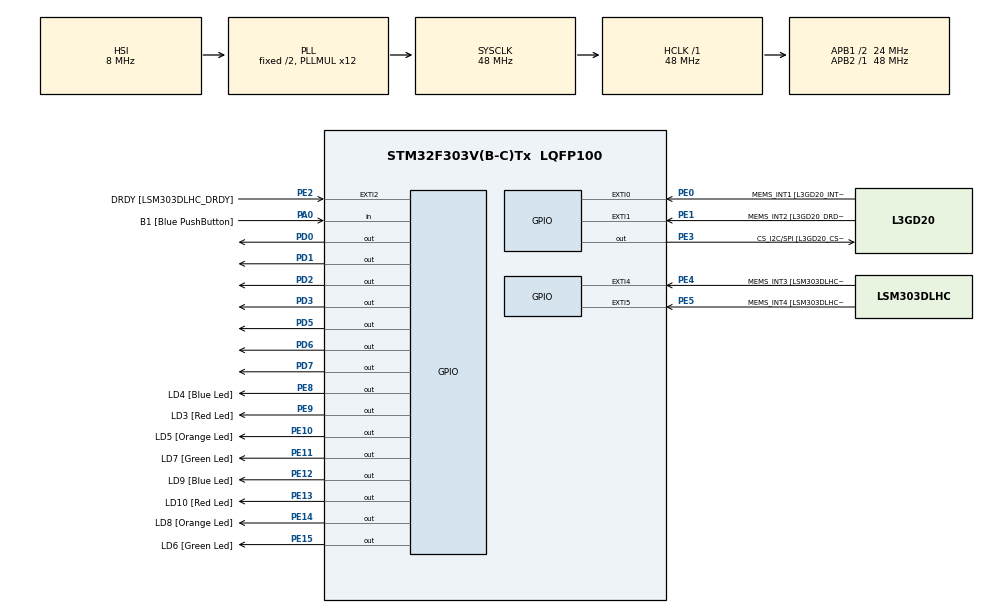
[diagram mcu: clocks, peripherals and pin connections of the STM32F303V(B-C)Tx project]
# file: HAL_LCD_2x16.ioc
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Mcu.Family=STM32F3
Mcu.Name=STM32F303V(B-C)Tx
Mcu.Package=LQFP100
NVIC.PriorityGroup=NVIC_PRIORITYGROUP_0
PA0.GPIO_Label=B1 [Blue PushButton]
PA0.GPIO_Mode=GPIO_MODE_INPUT
PA0.GPIO_PuPd=GPIO_NOPULL
PA0.Signal=GPIO_Input
PA11.GPIO_Label=DM
PA11.Signal=USB_DM
PA12.GPIO_Label=DP
PA12.Signal=USB_DP
PA13.GPIO_Label=SWDIO
PA13.Signal=SYS_JTMS-SWDIO
PA14.GPIO_Label=SWCLK
PA14.Signal=SYS_JTCK-SWCLK
PA5.GPIO_Label=SPI1_SCK [L3GD20_SCL/SPC]
PA5.GPIO_Mode=GPIO_MODE_AF_PP
PA5.GPIO_PuPd=GPIO_NOPULL
PA5.GPIO_Speed=GPIO_SPEED_FREQ_LOW
PA5.Signal=SPI1_SCK
PA6.GPIO_Label=SPI1_MISO [L3GD20_SA0/SDO]
PA6.GPIO_Mode=GPIO_MODE_AF_PP
PA6.GPIO_PuPd=GPIO_NOPULL
PA6.GPIO_Speed=GPIO_SPEED_FREQ_LOW
PA6.Signal=SPI1_MISO
PA7.GPIO_Label=SPI1_MISO [L3GD20_SDA/SDI/SDO]
PA7.GPIO_Mode=GPIO_MODE_AF_PP
PA7.GPIO_PuPd=GPIO_NOPULL
PA7.GPIO_Speed=GPIO_SPEED_FREQ_LOW
PA7.Signal=SPI1_MOSI
PB3.GPIO_Label=SWO
PB3.Signal=SYS_JTDO-TRACESWO
PB6.GPIO_FM6=__NULL
PB6.GPIO_Label=I2C1_SCL [LSM303DLHC_SCL]
PB6.GPIO_Mode=GPIO_MODE_AF_OD
PB6.GPIO_PuPd=GPIO_NOPULL
PB6.GPIO_Speed=GPIO_SPEED_FREQ_LOW
PB6.Signal=I2C1_SCL
PB7.GPIO_FM7=__NULL
PB7.GPIO_Label=I2C1_SDA [LSM303DLHC_SDA]
PB7.GPIO_Mode=GPIO_MODE_AF_OD
PB7.GPIO_PuPd=GPIO_NOPULL
PB7.GPIO_Speed=GPIO_SPEED_FREQ_LOW
PB7.Signal=I2C1_SDA
PC14-OSC32_IN.GPIO_Label=OSC32_IN
PC14-OSC32_IN.Signal=RCC_OSC32_IN
PC15-OSC32_OUT.GPIO_Label=OSC32_OUT
PC15-OSC32_OUT.Signal=RCC_OSC32_OUT
PD0.Signal=GPIO_Output
PD1.Signal=GPIO_Output
PD2.Signal=GPIO_Output
PD3.Signal=GPIO_Output
PD5.Signal=GPIO_Output
PD6.Signal=GPIO_Output
PD7.Signal=GPIO_Output
PE0.GPIO_Label=MEMS_INT1 [L3GD20_INT1]
PE0.GPIO_ModeDefaultEXTI=GPIO_MODE_EVT_RISING
PE0.GPIO_PuPd=GPIO_NOPULL
PE0.Signal=GPXTI0
PE1.GPIO_Label=MEMS_INT2 [L3GD20_DRDY/INT2]
PE1.GPIO_ModeDefaultEXTI=GPIO_MODE_EVT_RISING
PE1.GPIO_PuPd=GPIO_NOPULL
PE1.Signal=GPXTI1
PE10.GPIO_Label=LD5 [Orange Led]
PE10.GPIO_ModeDefaultOutputPP=GPIO_MODE_OUTPUT_PP
PE10.GPIO_PuPd=GPIO_NOPULL
PE10.GPIO_Speed=GPIO_SPEED_FREQ_LOW
PE10.Signal=GPIO_Output
PE11.GPIO_Label=LD7 [Green Led]
PE11.GPIO_ModeDefaultOutputPP=GPIO_MODE_OUTPUT_PP
PE11.GPIO_PuPd=GPIO_NOPULL
PE11.GPIO_Speed=GPIO_SPEED_FREQ_LOW
PE11.Signal=GPIO_Output
PE12.GPIO_Label=LD9 [Blue Led]
PE12.GPIO_ModeDefaultOutputPP=GPIO_MODE_OUTPUT_PP
PE12.GPIO_PuPd=GPIO_NOPULL
PE12.GPIO_Speed=GPIO_SPEED_FREQ_LOW
PE12.Signal=GPIO_Output
PE13.GPIO_Label=LD10 [Red Led]
PE13.GPIO_ModeDefaultOutputPP=GPIO_MODE_OUTPUT_PP
PE13.GPIO_PuPd=GPIO_NOPULL
PE13.GPIO_Speed=GPIO_SPEED_FREQ_LOW
PE13.Signal=GPIO_Output
PE14.GPIO_Label=LD8 [Orange Led]
PE14.GPIO_ModeDefaultOutputPP=GPIO_MODE_OUTPUT_PP
PE14.GPIO_PuPd=GPIO_NOPULL
PE14.GPIO_Speed=GPIO_SPEED_FREQ_LOW
PE14.Signal=GPIO_Output
PE15.GPIO_Label=LD6 [Green Led]
PE15.GPIO_ModeDefaultOutputPP=GPIO_MODE_OUTPUT_PP
PE15.GPIO_PuPd=GPIO_NOPULL
PE15.GPIO_Speed=GPIO_SPEED_FREQ_LOW
PE15.Signal=GPIO_Output
PE2.GPIO_Label=DRDY [LSM303DLHC_DRDY]
PE2.GPIO_ModeDefaultEXTI=GPIO_MODE_EVT_RISING
PE2.GPIO_PuPd=GPIO_NOPULL
PE2.Signal=GPXTI2
PE3.GPIO_Label=CS_I2C/SPI [L3GD20_CS_I2C/SPI]
PE3.GPIO_ModeDefaultOutputPP=GPIO_MODE_OUTPUT_PP
PE3.GPIO_PuPd=GPIO_NOPULL
PE3.GPIO_Speed=GPIO_SPEED_FREQ_LOW
PE3.Signal=GPIO_Output
PE4.GPIO_Label=MEMS_INT3 [LSM303DLHC_INT1]
PE4.GPIO_ModeDefaultEXTI=GPIO_MODE_EVT_RISING
PE4.GPIO_PuPd=GPIO_NOPULL
PE4.Signal=GPXTI4
PE5.GPIO_Label=MEMS_INT4 [LSM303DLHC_INT2]
PE5.GPIO_ModeDefaultEXTI=GPIO_MODE_EVT_RISING
PE5.GPIO_PuPd=GPIO_NOPULL
PE5.Signal=GPXTI5
PE8.GPIO_Label=LD4 [Blue Led]
PE8.GPIO_ModeDefaultOutputPP=GPIO_MODE_OUTPUT_PP
PE8.GPIO_PuPd=GPIO_NOPULL
PE8.GPIO_Speed=GPIO_SPEED_FREQ_LOW
PE8.Signal=GPIO_Output
PE9.GPIO_Label=LD3 [Red Led]
PE9.GPIO_ModeDefaultOutputPP=GPIO_MODE_OUTPUT_PP
PE9.GPIO_PuPd=GPIO_NOPULL
PE9.GPIO_Speed=GPIO_SPEED_FREQ_LOW
PE9.Signal=GPIO_Output
PF0-OSC_IN.GPIO_Label=OSC_IN
PF0-OSC_IN.Signal=RCC_OSC_IN
PF1-OSC_OUT.GPIO_Label=OSC_OUT
PF1-OSC_OUT.Signal=RCC_OSC_OUT
ProjectManager.HeapSize=0x200
ProjectManager.StackSize=0x400
ProjectManager.TargetToolchain=STM32CubeIDE
RCC.AHBFreq_Value=48000000
RCC.APB1CLKDivider=RCC_HCLK_DIV2
RCC.APB1Freq_Value=24000000
RCC.APB1TimFreq_Value=48000000
RCC.APB2Freq_Value=48000000
RCC.APB2TimFreq_Value=48000000
RCC.CortexFreq_Value=48000000
RCC.HCLKFreq_Value=48000000
RCC.HSE_VALUE=8000000
RCC.HSI_VALUE=8000000
RCC.LSE_VALUE=32768
RCC.PLLMUL=RCC_PLL_MUL12
RCC.SYSCLKFreq_VALUE=48000000
RCC.SYSCLKSourceVirtual=RCC_SYSCLKSOURCE_PLLCLK
RCC.USBFreq_Value=48000000
board=STM32F3DISCOVERY

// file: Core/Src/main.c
/* USER CODE BEGIN Header */
/**
  ******************************************************************************
  * @file           : main.c
  * @brief          : Main program body
  ******************************************************************************
  * @attention
  *
  * Copyright (c) 2023 STMicroelectronics.
  * All rights reserved.
  *
  * This software is licensed under terms that can be found in the LICENSE file
  * in the root directory of this software component.
  * If no LICENSE file comes with this software, it is provided AS-IS.
  *
  ******************************************************************************
  */
/* USER CODE END Header */
#include "main.h"

/* USER CODE BEGIN Includes */
#include "HD44780.h"

/* USER CODE END Includes */

void SystemClock_Config(void);
static void MX_GPIO_Init(void);

/* USER CODE BEGIN 0 */
volatile uint8_t test;
/* USER CODE END 0 */

int main(void)
{
  /* USER CODE BEGIN 1 */
	//TODO: READ BUSY FLAG
  /* USER CODE END 1 */

  /* MCU Configuration--------------------------------------------------------*/

  /* Reset of all peripherals, Initializes the Flash interface and the Systick. */
  HAL_Init();

  /* Configure the system clock */
  SystemClock_Config();

  /* Initialize all configured peripherals */
  MX_GPIO_Init();
  /* USER CODE BEGIN 2 */
  lcd_init();
  //lcd_send_text("Hello World");
  uint32_t command = (SET_DDRAM_ADDR)|(0x40);
  lcd_send_command(command);

//  uint32_t command = (SET_DDRAM_ADDR)|(0x40);
//  lcd_send_command(command);

  command = (LCD_ONOFF | LCD_DISPLAY_ON | LCD_COURSOR_OFF | LCD_BLINKINGCOURSOR_OFF);
  lcd_send_command(command);

  //change b sign in DRAM

  //lcd_send_command(0b00000000);  // 0'th CGRAM sign address
//	Reset_RS();
//	Set_RW();
//	test = lcd_receive_byte();

  //test=read_busy_flag();

  Reset_RS();
  Reset_RW();
  lcd_send_byte(0b10000000);		//SET DDRAM ADDRESS

  Set_RS();
  lcd_send_byte(0b00000000);		//SEND DDRAM DATA
  Reset_RS();

  uint32_t comm = 0;

  for(int i = 0; i <= 7; i++){
	  comm = (0b01000000)+i; // CGRAM ROW ADDRESS
	  lcd_send_byte(comm);		//SET CGRAM ADDRESS
	  HAL_Delay(10);
	  if(i==7){
		  Set_RS();
		  lcd_send_byte(0b00000000);//SEND CGRAM DATA - last row
		  break;
	  }
	  Set_RS();
	  lcd_send_byte(0b00000001);//SEND CGRAM DATA
	  Reset_RS();
	  HAL_Delay(10);
  }

  ////////////////////////set 0 position
  Reset_RS();
  Reset_RW();
  lcd_send_byte(0b10000000);
  //////////////////////////// send character
  Set_RS();
  lcd_send_byte(0b00000000);
  //////////////////////////////////////////

  //lcd_send_text("Second line");

  /* USER CODE END 2 */

  /* Infinite loop */
  /* USER CODE BEGIN WHILE */
  while (1)
  {
	  for(int i = 0; i <16; i++){
		  lcd_send_command(LCD_CURSOR_DISPLAY_SHIFT|DISPLAY_SHIFT|SHIFT_RIGHT);
		  HAL_Delay(1000);
	  }

	  for(int i = 0; i <(16+ 11); i++){
		  lcd_send_command(LCD_CURSOR_DISPLAY_SHIFT|DISPLAY_SHIFT|SHIFT_LEFT);
		  HAL_Delay(500);
	  }

	  for(int i = 0; i <11; i++){
		  lcd_send_command(LCD_CURSOR_DISPLAY_SHIFT|DISPLAY_SHIFT|SHIFT_RIGHT);
		  HAL_Delay(1000);
	  }
    /* USER CODE END WHILE */

  }
}

void SystemClock_Config(void)
{
  RCC_OscInitTypeDef RCC_OscInitStruct = {0};
  RCC_ClkInitTypeDef RCC_ClkInitStruct = {0};

  /** Initializes the RCC Oscillators according to the specified parameters
  * in the RCC_OscInitTypeDef structure.
  */
  RCC_OscInitStruct.OscillatorType = RCC_OSCILLATORTYPE_HSI;
  RCC_OscInitStruct.HSIState = RCC_HSI_ON;
  RCC_OscInitStruct.HSICalibrationValue = RCC_HSICALIBRATION_DEFAULT;
  RCC_OscInitStruct.PLL.PLLState = RCC_PLL_ON;
  RCC_OscInitStruct.PLL.PLLSource = RCC_PLLSOURCE_HSI;
  RCC_OscInitStruct.PLL.PLLMUL = RCC_PLL_MUL12;
  if (HAL_RCC_OscConfig(&RCC_OscInitStruct) != HAL_OK)
  {
    Error_Handler();
  }

  /** Initializes the CPU, AHB and APB buses clocks
  */
  RCC_ClkInitStruct.ClockType = RCC_CLOCKTYPE_HCLK|RCC_CLOCKTYPE_SYSCLK
                              |RCC_CLOCKTYPE_PCLK1|RCC_CLOCKTYPE_PCLK2;
  RCC_ClkInitStruct.SYSCLKSource = RCC_SYSCLKSOURCE_PLLCLK;
  RCC_ClkInitStruct.AHBCLKDivider = RCC_SYSCLK_DIV1;
  RCC_ClkInitStruct.APB1CLKDivider = RCC_HCLK_DIV2;
  RCC_ClkInitStruct.APB2CLKDivider = RCC_HCLK_DIV1;

  if (HAL_RCC_ClockConfig(&RCC_ClkInitStruct, FLASH_LATENCY_1) != HAL_OK)
  {
    Error_Handler();
  }
}

static void MX_GPIO_Init(void)
{
  GPIO_InitTypeDef GPIO_InitStruct = {0};

  /* GPIO Ports Clock Enable */
  __HAL_RCC_GPIOE_CLK_ENABLE();
  __HAL_RCC_GPIOC_CLK_ENABLE();
  __HAL_RCC_GPIOF_CLK_ENABLE();
  __HAL_RCC_GPIOA_CLK_ENABLE();
  __HAL_RCC_GPIOD_CLK_ENABLE();
  __HAL_RCC_GPIOB_CLK_ENABLE();

  /*Configure GPIO pin Output Level */
  HAL_GPIO_WritePin(GPIOE, CS_I2C_SPI_Pin|LD4_Pin|LD3_Pin|LD5_Pin
                          |LD7_Pin|LD9_Pin|LD10_Pin|LD8_Pin
                          |LD6_Pin, GPIO_PIN_RESET);

  /*Configure GPIO pin Output Level */
  HAL_GPIO_WritePin(GPIOD, GPIO_PIN_0|GPIO_PIN_1|GPIO_PIN_2|GPIO_PIN_3
                          |GPIO_PIN_5|GPIO_PIN_6|GPIO_PIN_7, GPIO_PIN_RESET);

  /*Configure GPIO pins : DRDY_Pin MEMS_INT3_Pin MEMS_INT4_Pin MEMS_INT1_Pin
                           MEMS_INT2_Pin */
  GPIO_InitStruct.Pin = DRDY_Pin|MEMS_INT3_Pin|MEMS_INT4_Pin|MEMS_INT1_Pin
                          |MEMS_INT2_Pin;
  GPIO_InitStruct.Mode = GPIO_MODE_EVT_RISING;
  GPIO_InitStruct.Pull = GPIO_NOPULL;
  HAL_GPIO_Init(GPIOE, &GPIO_InitStruct);

  /*Configure GPIO pins : CS_I2C_SPI_Pin LD4_Pin LD3_Pin LD5_Pin
                           LD7_Pin LD9_Pin LD10_Pin LD8_Pin
                           LD6_Pin */
  GPIO_InitStruct.Pin = CS_I2C_SPI_Pin|LD4_Pin|LD3_Pin|LD5_Pin
                          |LD7_Pin|LD9_Pin|LD10_Pin|LD8_Pin
                          |LD6_Pin;
  GPIO_InitStruct.Mode = GPIO_MODE_OUTPUT_PP;
  GPIO_InitStruct.Pull = GPIO_NOPULL;
  GPIO_InitStruct.Speed = GPIO_SPEED_FREQ_LOW;
  HAL_GPIO_Init(GPIOE, &GPIO_InitStruct);

  /*Configure GPIO pin : B1_Pin */
  GPIO_InitStruct.Pin = B1_Pin;
  GPIO_InitStruct.Mode = GPIO_MODE_INPUT;
  GPIO_InitStruct.Pull = GPIO_NOPULL;
  HAL_GPIO_Init(B1_GPIO_Port, &GPIO_InitStruct);

  /*Configure GPIO pins : SPI1_SCK_Pin SPI1_MISO_Pin SPI1_MISOA7_Pin */
  GPIO_InitStruct.Pin = SPI1_SCK_Pin|SPI1_MISO_Pin|SPI1_MISOA7_Pin;
  GPIO_InitStruct.Mode = GPIO_MODE_AF_PP;
  GPIO_InitStruct.Pull = GPIO_NOPULL;
  GPIO_InitStruct.Speed = GPIO_SPEED_FREQ_LOW;
  GPIO_InitStruct.Alternate = GPIO_AF5_SPI1;
  HAL_GPIO_Init(GPIOA, &GPIO_InitStruct);

  /*Configure GPIO pins : DM_Pin DP_Pin */
  GPIO_InitStruct.Pin = DM_Pin|DP_Pin;
  GPIO_InitStruct.Mode = GPIO_MODE_AF_PP;
  GPIO_InitStruct.Pull = GPIO_NOPULL;
  GPIO_InitStruct.Speed = GPIO_SPEED_FREQ_HIGH;
  GPIO_InitStruct.Alternate = GPIO_AF14_USB;
  HAL_GPIO_Init(GPIOA, &GPIO_InitStruct);

  /*Configure GPIO pins : PD0 PD1 PD2 PD3
                           PD5 PD6 PD7 */
  GPIO_InitStruct.Pin = GPIO_PIN_0|GPIO_PIN_1|GPIO_PIN_2|GPIO_PIN_3
                          |GPIO_PIN_5|GPIO_PIN_6|GPIO_PIN_7;
  GPIO_InitStruct.Mode = GPIO_MODE_OUTPUT_PP;
  GPIO_InitStruct.Pull = GPIO_NOPULL;
  GPIO_InitStruct.Speed = GPIO_SPEED_FREQ_LOW;
  HAL_GPIO_Init(GPIOD, &GPIO_InitStruct);

  /*Configure GPIO pins : I2C1_SCL_Pin I2C1_SDA_Pin */
  GPIO_InitStruct.Pin = I2C1_SCL_Pin|I2C1_SDA_Pin;
  GPIO_InitStruct.Mode = GPIO_MODE_AF_OD;
  GPIO_InitStruct.Pull = GPIO_NOPULL;
  GPIO_InitStruct.Speed = GPIO_SPEED_FREQ_LOW;
  GPIO_InitStruct.Alternate = GPIO_AF4_I2C1;
  HAL_GPIO_Init(GPIOB, &GPIO_InitStruct);

}

void Error_Handler(void)
{
  __disable_irq();
  while (1)
  {
  }
}
